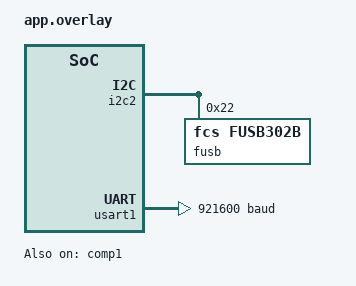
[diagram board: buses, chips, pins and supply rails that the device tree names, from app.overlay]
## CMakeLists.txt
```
cmake_minimum_required(VERSION 3.20.0)

set(EXTRA_ZEPHYR_MODULES ${CMAKE_CURRENT_SOURCE_DIR}/../oot_module;${CMAKE_CURRENT_SOURCE_DIR}/../stm32_comp)
find_package(Zephyr REQUIRED HINTS $ENV{ZEPHYR_BASE})
project(my_zephyr_app)

target_sources(app PRIVATE src/main.c)
```

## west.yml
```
manifest:
  remotes:
    - name: zephyrproject-rtos
      url-base: https://github.com/zephyrproject-rtos
    - name: ottojo
      url-base: https://github.com/ottojo

  projects:
    - name: zephyr
      remote: ottojo
      revision: usbc-experiments
      import:
        name-allowlist:
          - cmsis

    - name: otterpill_zephyr
      remote: ottojo
      revision: main

    - name: stm32_comp
      repo-path: zephyr_stm32_comp
      remote: ottojo
      revision: main
      import: true
```

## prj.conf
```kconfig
CONFIG_SHELL=n
CONFIG_SHELL_MINIMAL=n

CONFIG_SIZE_OPTIMIZATIONS=y
CONFIG_CBPRINTF_NANO=y
CONFIG_ASSERT=y
CONFIG_MINIMAL_LIBC=y
CONFIG_STACK_SENTINEL=y

CONFIG_I2C=y
CONFIG_I2C_LOG_LEVEL_WRN=y
CONFIG_USE_STM32_ASSERT=n
CONFIG_I2C_SHELL=n

CONFIG_LOG=y
CONFIG_LOG_MODE_IMMEDIATE=n
CONFIG_LOG_THREAD_ID_PREFIX=n
CONFIG_LOG_MODE_MINIMAL=n

CONFIG_USBC_STACK=y
CONFIG_USBC_CSM_SINK_ONLY=y
CONFIG_USBC_LOG_LEVEL_DBG=y
CONFIG_USBC_STACK_LOG_LEVEL_DBG=y

CONFIG_COMPARATOR=y
CONFIG_COMPARATOR_LOG_LEVEL_DBG=y
```

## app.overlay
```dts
#include <zephyr/dt-bindings/usb-c/pd.h>
#include <zephyr/dt-bindings/comparator/stm32.h>

/*
&zephyr_udc0 {
	status = "okay";
	cdc_acm_uart0: cdc_acm_uart0 {
		compatible = "zephyr,cdc-acm-uart";
		label = "CDC_ACM_0";
	};
};
 */

i2c_internal: &i2c2 {
    status = "okay";

    fusb: fusb302b@22 {
        compatible = "fcs,fusb302b";
        status = "okay";
        reg = <0x22>;
    };
};

&usart1 {
    current-speed = <921600>;
};

/ {
    soc {
        comp1: comp@4001001c {
            compatible = "st,stm32-comparators";
            status = "okay";
            reg = <0x4001001C 1>;

            #address-cells = <1>;
            #size-cells = <0>;

            pinctrl-0 = <&comp1_inp_pa1 &comp1_out_pa6 &comp2_inp_pa3 &comp2_out_pa2>;
            pinctrl-names = "default";

            channel@1 {
                status = "okay";
                reg = <1>;
                zephyr,input-positive = <COMP_NONINVERTINGINPUT_IO1>;
                zephyr,input-negative = <COMP_INVERTINGINPUT_1_2VREFINT>;
                /delete-property/ zephyr,invert-output;
                zephyr,output = <COMP_OUTPUT_NONE>;
            };

            channel@2 {
                status = "okay";
                reg = <2>;
                zephyr,input-positive = <COMP_NONINVERTINGINPUT_IO1>;
                zephyr,input-negative = <COMP_INVERTINGINPUT_1_2VREFINT>;
                zephyr,invert-output;
                zephyr,output = <COMP_OUTPUT_NONE>;
            };
        };
    };

    chosen {
        zephyr,shell-uart = &usart1;
    };

    fvbus: fusb302b-vbus {
        compatible = "fcs,fusb302b-vbus";
        fusb302b = <&fusb>;
    };

    ports {
        #address-cells = <1>;
        #size-cells = <0>;

        port1: usbc-port@1 {
            compatible = "usb-c-connector";
            reg = <1>;
            tcpc = <&fusb>;
            vbus = <&fvbus>;
            power-role = "sink";
            sink-pdos = <PDO_FIXED(9000, 100, 0)>;
        };
    };
};
```

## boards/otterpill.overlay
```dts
#include <zephyr/dt-bindings/usb-c/pd.h>
#include <zephyr/dt-bindings/comparator/stm32.h>

/*
&zephyr_udc0 {
	status = "okay";
	cdc_acm_uart0: cdc_acm_uart0 {
		compatible = "zephyr,cdc-acm-uart";
		label = "CDC_ACM_0";
	};
};
 */

i2c_internal: &i2c2 {
    status = "okay";

    fusb: fusb302b@22 {
        compatible = "fcs,fusb302b";
        status = "okay";
        reg = <0x22>;
    };
};

&usart1 {
    current-speed = <921600>;
};

/ {
    soc {
        comp1: comp@4001001c {
            compatible = "st,stm32f0-comparator";
            status = "okay";
            reg = <0x4001001c 2>;

            pinctrl-0 = <&comp1_inp_pa1 &comp1_out_pa6>;
            pinctrl-names = "default";

            zephyr,input-noninverting = <COMP_STM32_NONINVERTINGINPUT_IO1>;
            zephyr,input-inverting = <COMP_STM32_INVERTINGINPUT_1_2VREFINT>;
        };

        comp2: comp@4001001e {
            compatible = "st,stm32f0-comparator";
            status = "okay";
            reg = <0x4001001e 2>;

            pinctrl-0 = <&comp2_inp_pa3 &comp2_out_pa2>;
            pinctrl-names = "default";

            zephyr,input-noninverting = <COMP_STM32_NONINVERTINGINPUT_IO1>;
            zephyr,input-inverting = <COMP_STM32_INVERTINGINPUT_1_2VREFINT>;
        };
    };

    chosen {
        zephyr,shell-uart = &usart1;
    };

    fvbus: fusb302b-vbus {
        compatible = "fcs,fusb302b-vbus";
        fusb302b = <&fusb>;
    };

    ports {
        #address-cells = <1>;
        #size-cells = <0>;

        port1: usbc-port@1 {
            compatible = "usb-c-connector";
            reg = <1>;
            tcpc = <&fusb>;
            vbus = <&fvbus>;
            power-role = "sink";
            sink-pdos = <PDO_FIXED(9000, 100, 0)>;
        };
    };
};
```

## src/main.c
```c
#include <stdbool.h>
#include <zephyr/drivers/gpio.h>
#include <zephyr/drivers/usb_c/fusb302b.h>
#include <zephyr/drivers/usb_c/usbc_vbus.h>
#include <zephyr/kernel.h>
#include <zephyr/logging/log.h>
#include <zephyr/usb_c/usbc.h>

LOG_MODULE_REGISTER(main, LOG_LEVEL_INF);

/* The devicetree node identifier for the "led0" alias. */
#define LED0_NODE DT_ALIAS(led0)

/*
 * A build error on this line means your board is unsupported.
 * See the sample documentation for information on how to fix this.
 */
static const struct gpio_dt_spec led = GPIO_DT_SPEC_GET(LED0_NODE, gpios);

const struct device *const fusb_dev = DEVICE_DT_GET(DT_NODELABEL(fusb));
const struct device *const vbus_dev = DEVICE_DT_GET(DT_NODELABEL(fvbus));

const struct device *const port1 = DEVICE_DT_GET(DT_NODELABEL(port1));

const struct device *const comp1 = DEVICE_DT_GET(DT_NODELABEL(comp1));
const struct device *const comp2 = DEVICE_DT_GET(DT_NODELABEL(comp2));

uint32_t next_pdo = 1;

static void display_pdo(const int idx, const uint32_t pdo_value) {
	union pd_fixed_supply_pdo_source pdo;

	/* Default to fixed supply pdo source until type is detected */
	pdo.raw_value = pdo_value;

	LOG_INF("PDO %d:", idx);
	switch (pdo.type) {
		case PDO_FIXED: {
			LOG_INF("\tType:              FIXED");
			// LOG_INF("\tCurrent:           %d",
			//         PD_CONVERT_FIXED_PDO_CURRENT_TO_MA(pdo.max_current));
			LOG_INF("\tVoltage:           %d", PD_CONVERT_FIXED_PDO_VOLTAGE_TO_MV(pdo.voltage));

		} break;
		case PDO_BATTERY: {
			union pd_battery_supply_pdo_source batt_pdo;

			batt_pdo.raw_value = pdo_value;
			LOG_INF("\tType:              BATTERY");
			LOG_INF("\tMin Voltage: %d", PD_CONVERT_BATTERY_PDO_VOLTAGE_TO_MV(batt_pdo.min_voltage));
			LOG_INF("\tMax Voltage: %d", PD_CONVERT_BATTERY_PDO_VOLTAGE_TO_MV(batt_pdo.max_voltage));
			LOG_INF("\tMax Power:   %d", PD_CONVERT_BATTERY_PDO_POWER_TO_MW(batt_pdo.max_power));
		} break;
		case PDO_VARIABLE: {
			union pd_variable_supply_pdo_source var_pdo;

			var_pdo.raw_value = pdo_value;
			LOG_INF("\tType:        VARIABLE");
			LOG_INF("\tMin Voltage: %d", PD_CONVERT_VARIABLE_PDO_VOLTAGE_TO_MV(var_pdo.min_voltage));
			LOG_INF("\tMax Voltage: %d", PD_CONVERT_VARIABLE_PDO_VOLTAGE_TO_MV(var_pdo.max_voltage));
			LOG_INF("\tMax Current: %d", PD_CONVERT_VARIABLE_PDO_CURRENT_TO_MA(var_pdo.max_current));
		} break;
		case PDO_AUGMENTED: {
			union pd_augmented_supply_pdo_source aug_pdo;

			aug_pdo.raw_value = pdo_value;
			LOG_INF("\tType:              AUGMENTED");
			LOG_INF("\tMin Voltage:       %d", PD_CONVERT_AUGMENTED_PDO_VOLTAGE_TO_MV(aug_pdo.min_voltage));
			LOG_INF("\tMax Voltage:       %d", PD_CONVERT_AUGMENTED_PDO_VOLTAGE_TO_MV(aug_pdo.max_voltage));
			LOG_INF("\tMax Current:       %d", PD_CONVERT_AUGMENTED_PDO_CURRENT_TO_MA(aug_pdo.max_current));
			LOG_INF("\tPPS Power Limited: %d", aug_pdo.pps_power_limited);
		} break;
	}
}

uint32_t policy_cb_get_rdo(const struct device *dev) {
	// * @brief Get a Request Data Object from the DPM
	// Get selected source cap from Device Policy Manager

	// Build a Request Data Object

	union pd_rdo rdo;
	/* Maximum operating current 100mA (GIVEBACK = 0) */
	rdo.fixed.min_or_max_operating_current = PD_CONVERT_MA_TO_FIXED_PDO_CURRENT(100);
	/* Operating current 100mA */
	rdo.fixed.operating_current = PD_CONVERT_MA_TO_FIXED_PDO_CURRENT(100);
	/* Unchunked Extended Messages Not Supported */
	rdo.fixed.unchunked_ext_msg_supported = 0;
	/* No USB Suspend */
	rdo.fixed.no_usb_suspend = 1;
	/* Not USB Communications Capable */
	rdo.fixed.usb_comm_capable = 0;
	/* No capability mismatch */
	rdo.fixed.cap_mismatch = 0;
	/* Don't giveback */
	rdo.fixed.giveback = 0;

	rdo.fixed.object_pos = next_pdo;

	LOG_INF("Requesting PDO %d", next_pdo);

	return rdo.raw_value;
}

void handle_src_caps(const struct device *dev, const uint32_t *pdos, const int num_pdos) {

	if (num_pdos == 0) { return; }
	for (int i = 0; i < num_pdos; i++) {
		//display_pdo(i, pdos[i]);
		union pd_fixed_supply_pdo_source pdo;
		/* Default to fixed supply pdo source until type is detected */
		pdo.raw_value = pdos[i];
		/*if (pdo.voltage == PD_CONVERT_MV_TO_FIXED_PDO_VOLTAGE(9000)) {
			LOG_WRN("Selecting PDO for use!");
			pdo_pos = i + 1;
		}
		 */
	}
	next_pdo++;
	if (next_pdo > (num_pdos)) { next_pdo = 1; }
	LOG_INF("Received %d PDOs, next is %d!", num_pdos, next_pdo);
}

const char *usbc_policy_notify_to_str(const enum usbc_policy_notify_t policy_notify) {
	switch (policy_notify) {
		case MSG_ACCEPT_RECEIVED:
			return "MSG_ACCEPT_RECEIVED";
		case MSG_REJECTED_RECEIVED:
			return "MSG_REJECTED_RECEIVED";
		case MSG_DISCARDED:
			return "MSG_DISCARDED";
		case MSG_NOT_SUPPORTED_RECEIVED:
			return "MSG_NOT_SUPPORTED_RECEIVED";
		case DATA_ROLE_IS_UFP:
			return "DATA_ROLE_IS_UFP";
		case DATA_ROLE_IS_DFP:
			return "DATA_ROLE_IS_DFP";
		case PD_CONNECTED:
			return "PD_CONNECTED";
		case NOT_PD_CONNECTED:
			return "NOT_PD_CONNECTED";
		case TRANSITION_PS:
			return "TRANSITION_PS";
		case PORT_PARTNER_NOT_RESPONSIVE:
			return "PORT_PARTNER_NOT_RESPONSIVE";
		case PROTOCOL_ERROR:
			return "PROTOCOL_ERROR";
		case SNK_TRANSITION_TO_DEFAULT:
			return "SNK_TRANSITION_TO_DEFAULT";
		case HARD_RESET_RECEIVED:
			return "HARD_RESET_RECEIVED";
		case POWER_CHANGE_0A0:
			return "POWER_CHANGE_0A0";
		case POWER_CHANGE_DEF:
			return "POWER_CHANGE_DEF";
		case POWER_CHANGE_1A5:
			return "POWER_CHANGE_1A5";
		case POWER_CHANGE_3A0:
			return "POWER_CHANGE_3A0";
		case SENDER_RESPONSE_TIMEOUT:
			return "SENDER_RESPONSE_TIMEOUT";
		case SOURCE_CAPABILITIES_RECEIVED:
			return "SOURCE_CAPABILITIES_RECEIVED";
	}
	return "<invalid enum usbc_policy_notify_t>";
}

void notify_cb(const struct device *dev, const enum usbc_policy_notify_t policy_notify) {
	switch (policy_notify) {
		case TRANSITION_PS:
			LOG_INF("TRANSITION_PS");
			break;
		case PORT_PARTNER_NOT_RESPONSIVE:
			LOG_ERR("Port partner unresponsive.");
			break;
		default:
			LOG_WRN("Unhandled notification: %s", usbc_policy_notify_to_str(policy_notify));
			break;
	}
}

int main() {
	int ret;

	if (!gpio_is_ready_dt(&led)) { return 1; }

	ret = gpio_pin_configure_dt(&led, GPIO_OUTPUT_ACTIVE);
	if (ret < 0) { return 1; }

	if (!device_is_ready(comp1)) {
		LOG_ERR("COMP1 not init");
		while (true) { k_msleep(100); }
	}

	if (!device_is_ready(comp2)) {
		LOG_ERR("COMP2 not init");
		while (true) { k_msleep(100); }
	}

	usbc_set_policy_cb_set_src_cap(port1, handle_src_caps);
	usbc_set_policy_cb_get_rdo(port1, policy_cb_get_rdo);
	usbc_set_policy_cb_notify(port1, notify_cb);


	LOG_INF("Starting USB-C");
	usbc_start(port1);
	k_sleep(K_MSEC(1000));

	while (true) {
		gpio_pin_toggle_dt(&led);
		k_sleep(K_MSEC(1000));
		usbc_request(port1, REQUEST_PE_GET_SRC_CAPS);
	}
}
```
